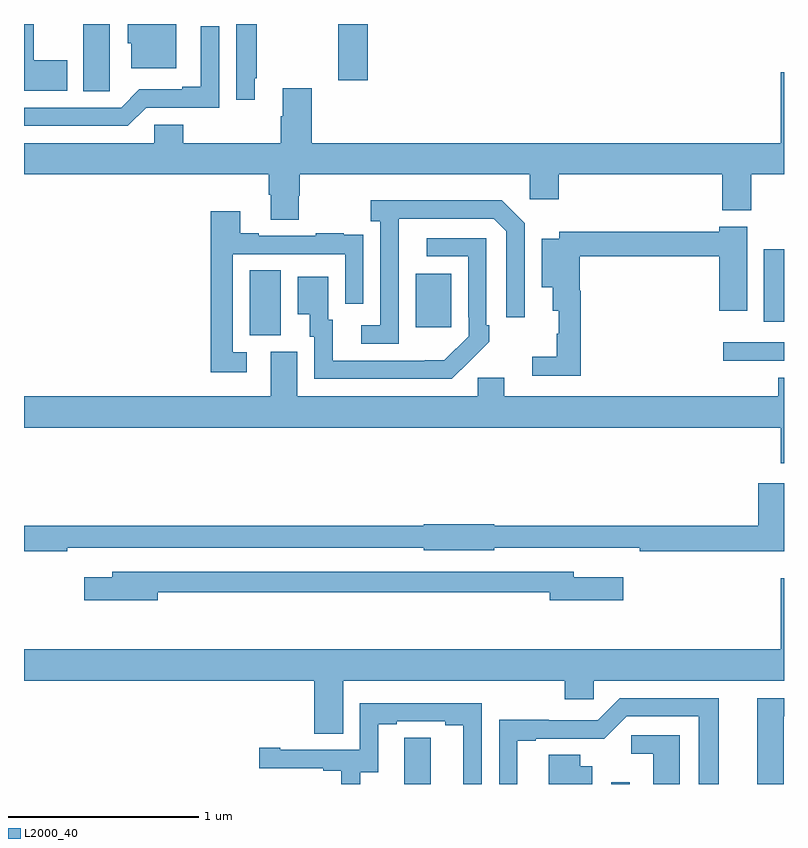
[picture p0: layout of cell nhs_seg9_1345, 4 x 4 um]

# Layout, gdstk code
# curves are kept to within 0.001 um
import gdstk
lib = gdstk.Library(unit=1e-6, precision=1e-09)
def R(c, l, rs):  # rectangles x0, y0, x1, y1
    for r in rs: c.add(gdstk.rectangle(r[:2], r[2:], *l))
def P(c, l, *ps):  # polygons
    for p in ps: c.add(gdstk.Polygon(p, *l))
L2000_40 = (2000, 40)

nhs_seg9_1345 = lib.new_cell('nhs_seg9_1345')
R(nhs_seg9_1345, L2000_40, [(188.091,1238.5,188.187,1238.509), (188.679,1240.728,189,1240.824), (186.188,1240.861,186.352,1241.204), (187.061,1240.905,187.249,1241.185), (188.894,1240.934,189,1241.314), (186.655,1242.204,186.809,1242.5)])
P(nhs_seg9_1345, L2000_40, [(185.227,1242.309),(185.05,1242.309),(185.05,1242.5),(185,1242.5),(185,1242.149),(185.227,1242.149)],
  [(186.214,1242.214),(186.226,1242.214),(186.226,1242.5),(186.117,1242.5),(186.117,1242.102),(186.214,1242.102)],
  [(185.451,1242.256),(185.452,1242.256),(185.452,1242.5),(185.312,1242.5),(185.312,1242.145),(185.451,1242.145)],
  [(185.8,1242.5),(185.546,1242.5),(185.546,1242.399),(185.564,1242.399),(185.564,1242.266),(185.8,1242.266)],
  [(185.643,1242.06),(186.027,1242.06),(186.027,1242.487),(185.93,1242.487),(185.93,1242.169),(185.834,1242.169),(185.834,1242.156),(185.607,1242.156),(185.511,1242.06),(185,1242.06),(185,1241.964),(185.547,1241.964)],
  [(186.447,1241.595),(186.452,1241.595),(186.452,1241.708),(187.662,1241.708),(187.662,1241.577),(187.814,1241.577),(187.814,1241.708),(188.675,1241.708),(188.675,1241.519),(188.827,1241.519),(188.827,1241.708),(189,1241.708),(189,1242.247),(188.984,1242.247),(188.984,1241.872),(186.515,1241.872),(186.515,1242.163),(186.362,1242.163),(186.362,1242.014),(186.35,1242.014),(186.35,1241.872),(185.837,1241.872),(185.837,1241.97),(185.685,1241.97),(185.685,1241.872),(185,1241.872),(185,1241.708),(186.287,1241.708),(186.287,1241.602),(186.299,1241.602),(186.299,1241.47),(186.447,1241.47)],
  [(186.972,1241.475),(187.473,1241.475),(187.539,1241.409),(187.539,1240.956),(187.635,1240.956),(187.635,1241.451),(187.514,1241.572),(186.825,1241.572),(186.825,1241.462),(186.876,1241.462),(186.876,1240.914),(186.774,1240.914),(186.774,1240.818),(186.972,1240.818)],
  [(186.172,1240.773),(186.099,1240.773),(186.099,1241.289),(186.69,1241.289),(186.69,1241.028),(186.786,1241.028),(186.786,1241.282),(186.785,1241.282),(186.785,1241.391),(186.683,1241.391),(186.683,1241.398),(186.535,1241.398),(186.535,1241.385),(186.235,1241.385),(186.235,1241.398),(186.139,1241.398),(186.139,1241.515),(185.983,1241.515),(185.983,1240.668),(186.172,1240.668)],
  [(187.931,1241.095),(187.925,1241.095),(187.925,1241.278),(188.66,1241.278),(188.66,1240.992),(188.806,1240.992),(188.806,1241.434),(188.66,1241.434),(188.66,1241.407),(187.818,1241.407),(187.818,1241.371),(187.724,1241.371),(187.724,1241.114),(187.784,1241.114),(187.784,1240.991),(187.814,1240.991),(187.814,1240.869),(187.803,1240.869),(187.803,1240.749),(187.674,1240.749),(187.674,1240.65),(187.931,1240.65)],
  [(187.343,1240.723),(187.344,1240.722),(187.449,1240.827),(187.449,1240.915),(187.434,1240.915),(187.434,1241.373),(187.119,1241.373),(187.119,1241.277),(187.338,1241.277),(187.338,1240.957),(187.341,1240.957),(187.341,1240.857),(187.213,1240.729),(186.625,1240.728),(186.625,1240.944),(186.601,1240.944),(186.601,1241.17),(186.44,1241.17),(186.44,1240.973),(186.503,1240.973),(186.503,1240.854),(186.528,1240.854),(186.528,1240.632),(187.252,1240.632)],
  [(189,1240.639),(188.969,1240.639),(188.969,1240.54),(187.528,1240.54),(187.528,1240.638),(187.389,1240.638),(187.389,1240.54),(186.439,1240.54),(186.439,1240.776),(186.299,1240.776),(186.299,1240.54),(185,1240.54),(185,1240.376),(188.984,1240.376),(188.984,1240.188),(189,1240.188)],
  [(185.228,1239.744),(187.104,1239.744),(187.104,1239.731),(187.476,1239.731),(187.476,1239.744),(187.99,1239.744),(187.99,1239.743),(188.242,1239.743),(188.242,1239.724),(189,1239.724),(189,1240.084),(188.864,1240.084),(188.864,1239.86),(187.476,1239.86),(187.476,1239.866),(187.104,1239.866),(187.104,1239.86),(185,1239.86),(185,1239.724),(185.228,1239.724)],
  [(185.704,1239.51),(187.766,1239.51),(187.766,1239.467),(188.155,1239.467),(188.155,1239.589),(187.894,1239.589),(187.894,1239.618),(185.465,1239.618),(185.465,1239.589),(185.316,1239.589),(185.316,1239.467),(185.704,1239.467)],
  [(186.679,1239.044),(187.847,1239.044),(187.847,1238.946),(187.998,1238.946),(187.998,1239.044),(189,1239.044),(189,1239.583),(188.984,1239.583),(188.984,1239.208),(185,1239.208),(185,1239.044),(186.527,1239.044),(186.527,1238.764),(186.679,1238.764)],
  [(188.998,1238.856),(189,1238.856),(189,1238.952),(188.858,1238.952),(188.858,1238.5),(188.998,1238.5)],
  [(187.597,1238.727),(187.693,1238.727),(187.693,1238.739),(188.054,1238.738),(188.172,1238.856),(188.552,1238.856),(188.552,1238.5),(188.656,1238.5),(188.656,1238.952),(188.136,1238.952),(188.019,1238.835),(187.763,1238.835),(187.763,1238.837),(187.5,1238.837),(187.5,1238.5),(187.597,1238.5)],
  [(186.771,1238.563),(186.865,1238.563),(186.865,1238.814),(186.961,1238.814),(186.961,1238.829),(187.217,1238.829),(187.217,1238.809),(187.313,1238.809),(187.313,1238.5),(187.41,1238.5),(187.41,1238.925),(186.768,1238.925),(186.768,1238.679),(186.349,1238.679),(186.349,1238.692),(186.237,1238.692),(186.237,1238.583),(186.575,1238.583),(186.575,1238.571),(186.671,1238.571),(186.671,1238.5),(186.771,1238.5)],
  [(188.452,1238.757),(188.196,1238.757),(188.196,1238.66),(188.312,1238.66),(188.312,1238.5),(188.452,1238.5)],
  [(187.141,1238.744),(187.002,1238.744),(187.002,1238.636),(187.001,1238.636),(187.001,1238.5),(187.141,1238.5)],
  [(187.99,1238.593),(187.927,1238.593),(187.927,1238.654),(187.763,1238.654),(187.763,1238.5),(187.99,1238.5)])

lib.write_gds('nhs_seg9_1345.gds')
